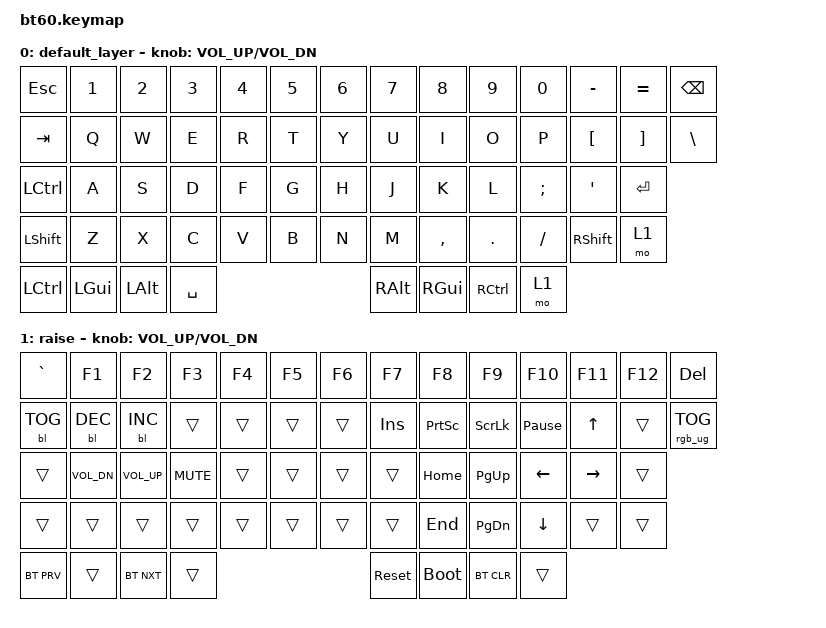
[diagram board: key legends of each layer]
#include <behaviors.dtsi>
#include <dt-bindings/zmk/keys.h>
#include <dt-bindings/zmk/bt.h>
#include <dt-bindings/zmk/rgb.h>
#include <dt-bindings/zmk/backlight.h>

/ {
	keymap {
		compatible = "zmk,keymap";

		default_layer {
				// ------------------------------------------------------------------------------------------
				// |  `  |  1  |  2  |  3  |  4  |  5  |  6  |  7  |  8  |  9  |  0  |  -  |  =  |   BKSP
				// | TAB  |  Q  |  W  |  E  |  R  |  T  |  Y  |  U  |  I  |  O  |  P  |  [  |  ]  |   |
				// | CAPS  |  A  |  S  |  D  |  F  |  G  |  H  |  J  |  K  |  L  |  ;  |  '  |     ENTER
				// |  SHIFT    |  Z  |  X  |  C  |  V  |  B  |  N  |  M  |  ,  |  .  | /   |      SHIFT
				// |  CTL  |  WIN  |  ALT  |            SPACE               | ALT | 1    |  MENU    |  CTRL
				// ------------------------------------------------------------------------------------------
			bindings = <
				&kp ESC		&kp N1 		&kp N2 		&kp N3 		&kp N4 		&kp N5 		&kp N6 		&kp N7 		&kp  N8   	&kp  N9 	&kp  N0  	&kp MINUS 	&kp EQUAL 	&kp BSPC
				&kp TAB  	&kp Q  		&kp W  		&kp E  		&kp R  		&kp T  		&kp Y  		&kp U  		&kp  I    	&kp  O  	&kp  P   	&kp LBKT 	&kp RBKT   	&kp BSLH
				&kp LCTRL  	&kp A  		&kp S  		&kp D  		&kp F  		&kp G  		&kp H  		&kp J  		&kp  K    	&kp  L  	&kp SEMI 	&kp SQT     &kp RET
				&kp LSHFT  	&kp Z  		&kp X  		&kp C  		&kp V  		&kp B  		&kp N  		&kp M  		&kp COMMA 	&kp DOT 	&kp FSLH    &kp RSHFT	&mo 1
				&kp LCTRL 	&kp LGUI    &kp LALT            	&kp SPACE                          	&kp RALT  	&kp RGUI    &kp RCTRL      &mo 1  
			>;
			sensor-bindings = <&inc_dec_kp C_VOL_UP C_VOL_DN>;
		};
		raise {
			bindings = <
				&kp GRAVE 	&kp F1 			&kp F2 			&kp F3 		&kp F4 		&kp F5 		&kp F6 		&kp F7 		&kp F8 		&kp F9 		&kp F10 	&kp F11 		&kp F12 	&kp DEL
				&bl BL_TOG	&bl BL_DEC 		&bl BL_INC 		&trans 		&trans 		&trans 		&trans 		&kp INS		&kp PSCRN 	&kp SLCK 	&kp PAUSE_BREAK		&kp UP 			&trans 		&rgb_ug RGB_TOG
				&trans 		&kp C_VOL_DN 	&kp C_VOL_UP 	&kp C_MUTE 	&trans 		&trans 		&trans 		&trans 		&kp HOME 	&kp PG_UP 	&kp LEFT 	&kp RIGHT 		&trans
				&trans 		&trans 			&trans 			&trans 		&trans 		&trans 		&trans 		&trans 		&kp END 	&kp PG_DN 	&kp DOWN 	&trans	&trans
				&bt BT_PRV 	&trans   		&bt BT_NXT              &trans                            &sys_reset   	&bootloader 		&bt BT_CLR 	&trans
			>;
			sensor-bindings = <&inc_dec_kp C_VOL_UP C_VOL_DN>;
		};
	};
};
